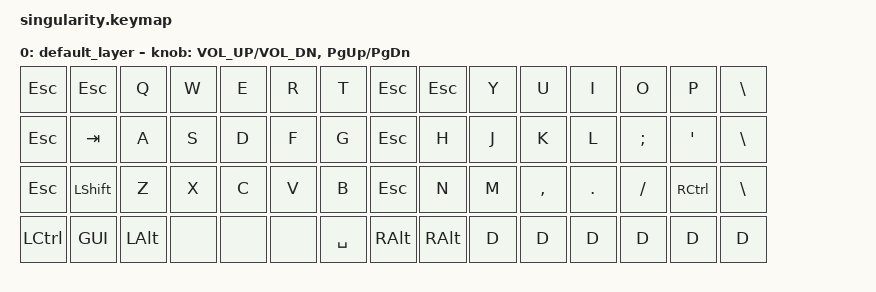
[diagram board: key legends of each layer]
#include <behaviors.dtsi>
#include <dt-bindings/zmk/keys.h>

/ {
    keymap {
        compatible = "zmk,keymap";

        default_layer {
// --------------------------------------------------------------------------------------------------------------------------------------------------------------------
// |   ESC   |    Q    |    W    |    E    |    R    |    T    |                                          |    Y    |    U    |    I    |    O    |    P    |    \    |
// |   TAB   |    A    |    S    |    D    |    F    |    G    |                                          |    H    |    J    |    K    |    L    |    ;    |    '    |
// |  SHIFT  |    Z    |    X    |    C    |    V    |    B    | CTRL+A  | CTRL+C  |  |  CTRL+V |  CTRL+X |    N    |    M    |    ,    |    .    |    /    |  R CTRL |
//                               |   GUI   |   DEL   | RETURN  |  SPACE  | ESCAPE  |  |  RETURN |  SPACE  |   TAB   |   BSPC  |  R ALT  |
            bindings = <
    &kp ESC &kp ESC    &kp Q    &kp W    &kp E     &kp R     &kp T                  &kp ESC &kp ESC   &kp Y     &kp U     &kp I     &kp O     &kp P    &kp BSLH
    &kp ESC &kp TAB    &kp A    &kp S    &kp D     &kp F     &kp G                  &kp ESC &kp H     &kp J     &kp K     &kp L     &kp SEMI &kp SQT &kp BSLH
    &kp ESC &kp LSHIFT &kp Z    &kp X    &kp C     &kp V   &kp B                  &kp ESC &kp N   &kp M     &kp COMMA &kp DOT   &kp FSLH &kp RCTRL &kp BSLH
    &kp LCTRL &kp GUI  &kp LALT &none    &none     &none   &kp SPACE              &kp RALT &kp RALT &kp D &kp D &kp D &kp D &kp D &kp D
            >;

            sensor-bindings = <&inc_dec_kp C_VOL_UP C_VOL_DN &inc_dec_kp PG_UP PG_DN>;
        };
    };
};
